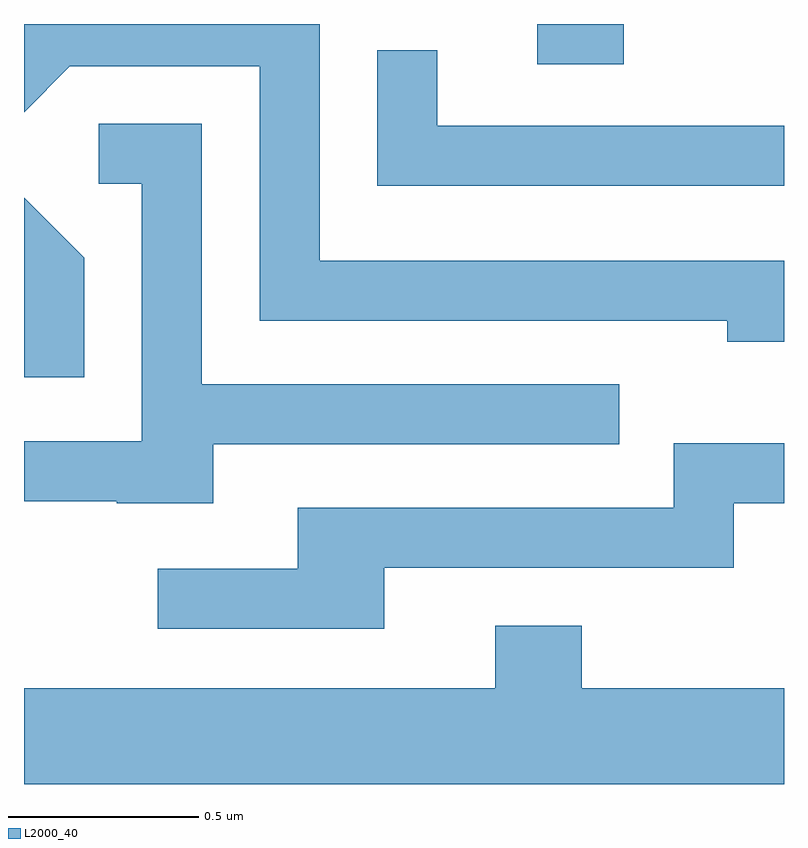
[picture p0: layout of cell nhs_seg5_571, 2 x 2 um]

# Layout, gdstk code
import gdstk
lib = gdstk.Library(unit=1e-6, precision=1e-09)
def R(c, l, rs):  # rectangles x0, y0, x1, y1
    for r in rs: c.add(gdstk.rectangle(r[:2], r[2:], *l))
def P(c, l, *ps):  # polygons
    for p in ps: c.add(gdstk.Polygon(p, *l))
L2000_40 = (2000, 40)

nhs_seg5_571 = lib.new_cell('nhs_seg5_571')
R(nhs_seg5_571, L2000_40, [(190.961,1420.966,191.189,1421.072)])
P(nhs_seg5_571, L2000_40, [(191.611,1420.449),(190.389,1420.449),(190.389,1421.072),(189.612,1421.072),(189.611,1421.071),(189.611,1420.84),(189.732,1420.961),(190.231,1420.961),(190.231,1420.291),(191.461,1420.291),(191.461,1420.236),(191.611,1420.236)],
  [(191.611,1420.804),(190.699,1420.804),(190.699,1421.003),(190.541,1421.003),(190.541,1420.646),(191.611,1420.646)],
  [(190.109,1419.966),(191.178,1419.966),(191.178,1420.124),(190.079,1420.124),(190.079,1420.809),(189.808,1420.809),(189.808,1420.651),(189.921,1420.651),(189.921,1419.974),(189.611,1419.974),(189.611,1419.816),(189.855,1419.816),(189.855,1419.811),(190.109,1419.811)],
  [(189.769,1420.457),(189.611,1420.615),(189.611,1420.143),(189.769,1420.143)],
  [(190.559,1419.641),(191.479,1419.641),(191.479,1419.811),(191.611,1419.811),(191.611,1419.969),(191.321,1419.969),(191.321,1419.799),(190.331,1419.799),(190.331,1419.639),(189.963,1419.639),(189.963,1419.481),(190.559,1419.481)],
  [(191.611,1419.324),(191.079,1419.324),(191.079,1419.489),(190.851,1419.489),(190.851,1419.324),(189.611,1419.324),(189.611,1419.072),(191.611,1419.072)])

lib.write_gds('nhs_seg5_571.gds')
